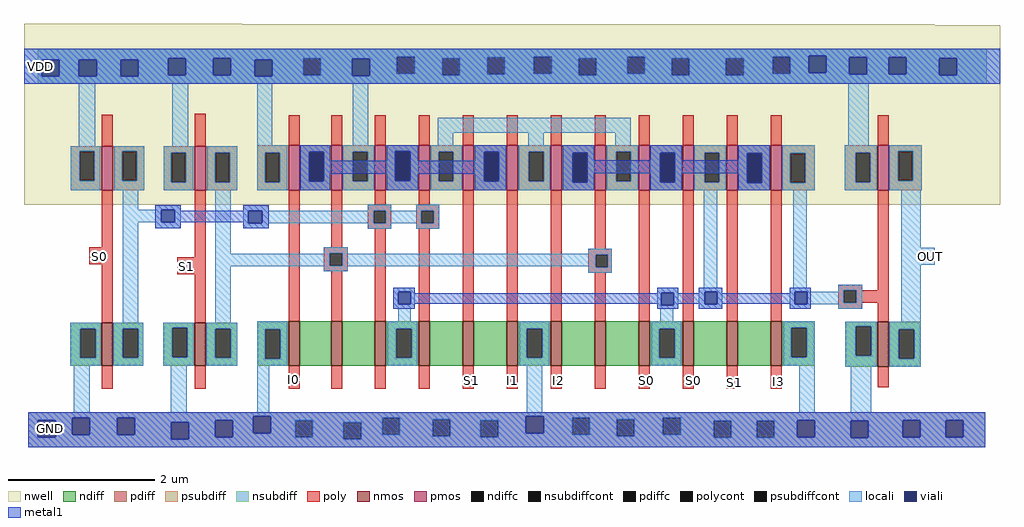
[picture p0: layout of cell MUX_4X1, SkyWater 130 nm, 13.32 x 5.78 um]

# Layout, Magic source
magic
tech sky130A
<< nwell >>
rect -361 493 -63 494
rect -361 492 882 493
rect -361 247 971 492
<< nmos >>
rect -255 27 -240 86
rect -128 27 -113 86
rect 0 27 15 88
rect 58 27 73 88
rect 118 27 133 88
rect 178 27 193 88
rect 238 27 253 88
rect 298 27 313 88
rect 358 27 373 88
rect 418 27 433 88
rect 478 27 493 88
rect 538 27 553 88
rect 598 27 613 88
rect 658 27 673 88
rect 804 26 819 87
<< pmos >>
rect -255 267 -240 327
rect -128 267 -113 327
rect 0 267 15 328
rect 58 267 73 328
rect 118 267 133 328
rect 178 267 193 328
rect 238 267 253 328
rect 298 267 313 328
rect 358 267 373 328
rect 418 267 433 328
rect 478 267 493 328
rect 538 267 553 328
rect 598 267 613 328
rect 658 267 673 328
rect 804 267 819 328
<< ndiff >>
rect -298 78 -255 86
rect -298 38 -284 78
rect -263 38 -255 78
rect -298 27 -255 38
rect -240 78 -198 86
rect -240 38 -226 78
rect -205 38 -198 78
rect -240 27 -198 38
rect -171 79 -128 86
rect -171 39 -159 79
rect -138 39 -128 79
rect -171 27 -128 39
rect -113 78 -70 86
rect -113 38 -100 78
rect -79 38 -70 78
rect -113 27 -70 38
rect -43 77 0 88
rect -43 37 -32 77
rect -11 37 0 77
rect -43 27 0 37
rect 15 27 58 88
rect 73 27 118 88
rect 133 78 178 88
rect 133 38 147 78
rect 168 38 178 78
rect 133 27 178 38
rect 193 27 238 88
rect 253 27 298 88
rect 313 78 358 88
rect 313 38 325 78
rect 346 38 358 78
rect 313 27 358 38
rect 373 27 418 88
rect 433 27 478 88
rect 493 78 538 88
rect 493 38 506 78
rect 527 38 538 78
rect 493 27 538 38
rect 553 27 598 88
rect 613 27 658 88
rect 673 79 718 88
rect 673 39 686 79
rect 707 39 718 79
rect 673 27 718 39
rect 760 81 804 87
rect 760 41 774 81
rect 795 41 804 81
rect 760 26 804 41
rect 819 77 863 87
rect 819 37 833 77
rect 854 37 863 77
rect 819 26 863 37
<< pdiff >>
rect -297 320 -255 327
rect -297 280 -285 320
rect -265 280 -255 320
rect -297 267 -255 280
rect -240 320 -197 327
rect -240 280 -227 320
rect -207 280 -197 320
rect -240 267 -197 280
rect -170 318 -128 327
rect -170 278 -160 318
rect -140 278 -128 318
rect -170 267 -128 278
rect -113 318 -70 327
rect -113 278 -100 318
rect -80 278 -70 318
rect -113 267 -70 278
rect -43 318 0 328
rect -43 278 -32 318
rect -12 278 0 318
rect -43 267 0 278
rect 15 319 58 328
rect 15 279 28 319
rect 48 279 58 319
rect 15 267 58 279
rect 73 319 118 328
rect 73 279 88 319
rect 108 279 118 319
rect 73 267 118 279
rect 133 320 178 328
rect 133 280 146 320
rect 166 280 178 320
rect 133 267 178 280
rect 193 319 238 328
rect 193 279 205 319
rect 225 279 238 319
rect 193 267 238 279
rect 253 319 298 328
rect 253 279 267 319
rect 287 279 298 319
rect 253 267 298 279
rect 313 319 358 328
rect 313 279 328 319
rect 348 279 358 319
rect 313 267 358 279
rect 373 318 418 328
rect 373 278 388 318
rect 408 278 418 318
rect 373 267 418 278
rect 433 319 478 328
rect 433 279 447 319
rect 467 279 478 319
rect 433 267 478 279
rect 493 318 538 328
rect 493 278 507 318
rect 527 278 538 318
rect 493 267 538 278
rect 553 318 598 328
rect 553 278 568 318
rect 588 278 598 318
rect 553 267 598 278
rect 613 317 658 328
rect 613 277 626 317
rect 646 277 658 317
rect 613 267 658 277
rect 673 317 718 328
rect 673 277 685 317
rect 705 277 718 317
rect 673 267 718 277
rect 759 318 804 328
rect 759 278 774 318
rect 794 278 804 318
rect 759 267 804 278
rect 819 320 864 328
rect 819 280 832 320
rect 852 280 864 320
rect 819 267 864 280
<< ndiffc >>
rect -284 38 -263 78
rect -226 38 -205 78
rect -159 39 -138 79
rect -100 38 -79 78
rect -32 37 -11 77
rect 147 38 168 78
rect 325 38 346 78
rect 506 38 527 78
rect 686 39 707 79
rect 774 41 795 81
rect 833 37 854 77
<< pdiffc >>
rect -285 280 -265 320
rect -227 280 -207 320
rect -160 278 -140 318
rect -100 278 -80 318
rect -32 278 -12 318
rect 28 279 48 319
rect 88 279 108 319
rect 146 280 166 320
rect 205 279 225 319
rect 267 279 287 319
rect 328 279 348 319
rect 388 278 408 318
rect 447 279 467 319
rect 507 278 527 318
rect 568 278 588 318
rect 626 277 646 317
rect 685 277 705 317
rect 774 278 794 318
rect 832 280 852 320
<< psubdiff >>
rect -355 -44 951 -36
rect -355 -47 128 -44
rect -355 -70 9 -47
rect 33 -50 128 -47
rect 33 -70 75 -50
rect -355 -73 75 -70
rect 99 -67 128 -50
rect 152 -46 387 -44
rect 152 -67 197 -46
rect 99 -69 197 -67
rect 221 -47 387 -46
rect 221 -69 262 -47
rect 99 -70 262 -69
rect 286 -67 387 -47
rect 411 -46 511 -44
rect 411 -67 448 -46
rect 286 -69 448 -67
rect 472 -67 511 -46
rect 535 -48 951 -44
rect 535 -67 580 -48
rect 472 -69 580 -67
rect 286 -70 580 -69
rect 99 -71 580 -70
rect 604 -71 639 -48
rect 663 -71 951 -48
rect 99 -73 951 -71
rect -355 -84 951 -73
<< nsubdiff >>
rect -342 449 953 460
rect -342 447 148 449
rect -342 424 20 447
rect 44 426 148 447
rect 172 448 335 449
rect 172 447 271 448
rect 172 426 210 447
rect 44 424 210 426
rect 234 425 271 447
rect 295 426 335 448
rect 359 447 462 449
rect 359 426 396 447
rect 295 425 396 426
rect 234 424 396 425
rect 420 426 462 447
rect 486 447 661 449
rect 486 426 523 447
rect 420 424 523 426
rect 547 424 597 447
rect 621 426 661 447
rect 685 426 953 449
rect 621 424 953 426
rect -342 412 953 424
<< psubdiffcont >>
rect 9 -70 33 -47
rect 75 -73 99 -50
rect 128 -67 152 -44
rect 197 -69 221 -46
rect 262 -70 286 -47
rect 387 -67 411 -44
rect 448 -69 472 -46
rect 511 -67 535 -44
rect 580 -71 604 -48
rect 639 -71 663 -48
<< nsubdiffcont >>
rect 20 424 44 447
rect 148 426 172 449
rect 210 424 234 447
rect 271 425 295 448
rect 335 426 359 449
rect 396 424 420 447
rect 462 426 486 449
rect 523 424 547 447
rect 597 424 621 447
rect 661 426 685 449
<< poly >>
rect -255 327 -240 370
rect -128 327 -113 371
rect 0 328 15 369
rect 58 328 73 369
rect 118 328 133 369
rect 178 328 193 369
rect 238 328 253 369
rect 298 328 313 369
rect 358 328 373 369
rect 418 328 433 369
rect 478 328 493 369
rect 538 328 553 369
rect 598 328 613 369
rect 658 328 673 369
rect 804 328 819 369
rect -255 189 -240 267
rect -272 166 -240 189
rect -128 175 -113 267
rect -255 86 -240 166
rect -152 152 -113 175
rect -128 86 -113 152
rect 0 88 15 267
rect 58 189 73 267
rect 118 247 133 267
rect 178 247 193 267
rect 108 239 140 247
rect 108 222 116 239
rect 133 222 140 239
rect 108 214 140 222
rect 174 239 206 247
rect 174 222 181 239
rect 198 222 206 239
rect 174 214 206 222
rect 48 181 81 189
rect 48 164 56 181
rect 73 164 81 181
rect 48 156 81 164
rect 58 88 73 156
rect 118 88 133 214
rect 178 88 193 214
rect 238 88 253 267
rect 298 88 313 267
rect 358 88 373 267
rect 418 187 433 267
rect 409 179 441 187
rect 409 162 419 179
rect 436 162 441 179
rect 409 154 441 162
rect 418 88 433 154
rect 478 88 493 267
rect 538 88 553 267
rect 598 88 613 267
rect 658 88 673 267
rect 750 130 783 138
rect 804 130 819 267
rect 750 113 758 130
rect 775 113 819 130
rect 750 105 783 113
rect 804 87 819 113
rect -255 -4 -240 27
rect -128 -4 -113 27
rect 0 -4 15 27
rect 58 -4 73 27
rect 118 -4 133 27
rect 178 -4 193 27
rect 238 -4 253 27
rect 298 -4 313 27
rect 358 -4 373 27
rect 418 -4 433 27
rect 478 -4 493 27
rect 538 -4 553 27
rect 598 -4 613 27
rect 658 -4 673 27
rect 804 -2 819 26
<< polycont >>
rect 116 222 133 239
rect 181 222 198 239
rect 56 164 73 181
rect 419 162 436 179
rect 758 113 775 130
<< locali >>
rect -361 450 971 460
rect -361 449 710 450
rect -361 447 148 449
rect -361 445 -164 447
rect -361 422 -337 445
rect -313 422 -286 445
rect -262 422 -229 445
rect -205 424 -164 445
rect -140 424 -103 447
rect -79 445 20 447
rect -79 424 -46 445
rect -205 422 -46 424
rect -22 424 20 445
rect 44 446 148 447
rect 44 424 87 446
rect -22 423 87 424
rect 111 426 148 446
rect 172 448 335 449
rect 172 447 271 448
rect 172 426 210 447
rect 111 424 210 426
rect 234 425 271 447
rect 295 426 335 448
rect 359 447 462 449
rect 359 426 396 447
rect 295 425 396 426
rect 234 424 396 425
rect 420 426 462 447
rect 486 447 661 449
rect 486 426 523 447
rect 420 424 523 426
rect 547 424 597 447
rect 621 426 661 447
rect 685 427 710 449
rect 734 448 971 450
rect 734 427 765 448
rect 685 426 765 427
rect 621 425 765 426
rect 789 425 819 448
rect 843 447 971 448
rect 843 425 888 447
rect 621 424 888 425
rect 912 424 971 447
rect 111 423 971 424
rect -22 422 971 423
rect -361 412 971 422
rect -286 327 -264 412
rect -159 327 -137 412
rect -43 328 -22 412
rect 88 328 109 412
rect 204 345 467 366
rect 204 328 225 345
rect 327 328 348 345
rect 446 328 467 345
rect 764 328 792 412
rect -297 320 -257 327
rect -297 280 -285 320
rect -265 280 -257 320
rect -297 267 -257 280
rect -238 320 -197 327
rect -238 280 -227 320
rect -207 280 -197 320
rect -238 267 -197 280
rect -170 318 -130 327
rect -170 278 -160 318
rect -140 278 -130 318
rect -170 267 -130 278
rect -111 318 -70 327
rect -111 278 -100 318
rect -80 278 -70 318
rect -111 267 -70 278
rect -43 318 -2 328
rect -43 278 -32 318
rect -12 278 -2 318
rect -43 267 -2 278
rect 16 319 57 328
rect 16 279 28 319
rect 48 279 57 319
rect 16 267 57 279
rect 74 319 117 328
rect 74 279 88 319
rect 108 279 117 319
rect 74 267 117 279
rect 134 320 177 328
rect 134 280 146 320
rect 166 280 177 320
rect 134 267 177 280
rect 194 319 237 328
rect 194 279 205 319
rect 225 279 237 319
rect 194 267 237 279
rect 254 319 297 328
rect 254 279 267 319
rect 287 279 297 319
rect 254 267 297 279
rect 314 319 357 328
rect 314 279 328 319
rect 348 279 357 319
rect 314 267 357 279
rect 374 318 417 328
rect 374 278 388 318
rect 408 278 417 318
rect 374 267 417 278
rect 434 319 477 328
rect 434 279 447 319
rect 467 279 477 319
rect 434 267 477 279
rect 494 318 537 328
rect 494 278 507 318
rect 527 278 537 318
rect 494 267 537 278
rect 554 318 597 328
rect 554 278 568 318
rect 588 278 597 318
rect 554 267 597 278
rect 614 317 657 328
rect 614 277 626 317
rect 646 277 657 317
rect 614 267 657 277
rect 674 317 718 328
rect 674 277 685 317
rect 705 277 718 317
rect 674 267 718 277
rect 759 318 803 328
rect 759 278 774 318
rect 794 278 803 318
rect 759 267 803 278
rect 820 320 864 328
rect 820 280 832 320
rect 852 280 864 320
rect 820 267 864 280
rect -226 240 -205 267
rect -182 240 -147 246
rect -226 223 -174 240
rect -155 223 -147 240
rect -226 86 -205 223
rect -182 215 -147 223
rect -100 180 -79 267
rect -62 239 -27 246
rect 108 239 140 247
rect 174 239 206 247
rect -62 222 -55 239
rect -36 222 116 239
rect 133 222 181 239
rect 198 222 206 239
rect -62 215 -27 222
rect 108 214 140 222
rect 174 214 206 222
rect 48 181 81 189
rect 48 180 56 181
rect -100 164 56 180
rect 73 180 81 181
rect 409 180 441 187
rect 73 179 441 180
rect 73 164 419 179
rect -100 163 419 164
rect -100 86 -79 163
rect 48 156 81 163
rect 409 162 419 163
rect 436 162 441 179
rect 409 154 441 162
rect 567 134 585 267
rect 689 134 707 267
rect 836 188 863 267
rect 836 165 882 188
rect 143 128 172 134
rect 143 111 150 128
rect 167 111 172 128
rect 143 105 172 111
rect 503 127 532 134
rect 503 110 509 127
rect 526 110 532 127
rect 503 105 532 110
rect 560 128 592 134
rect 560 111 568 128
rect 585 111 592 128
rect 560 105 592 111
rect 684 128 713 134
rect 750 130 783 138
rect 750 128 758 130
rect 684 111 691 128
rect 708 113 758 128
rect 775 113 783 130
rect 708 111 783 113
rect 684 105 713 111
rect 750 105 783 111
rect 150 88 167 105
rect 507 88 525 105
rect -298 78 -256 86
rect -298 38 -284 78
rect -263 38 -256 78
rect -298 27 -256 38
rect -239 78 -198 86
rect -239 38 -226 78
rect -205 38 -198 78
rect -239 27 -198 38
rect -171 79 -129 86
rect -171 39 -159 79
rect -138 39 -129 79
rect -171 27 -129 39
rect -112 78 -70 86
rect -112 38 -100 78
rect -79 38 -70 78
rect -112 27 -70 38
rect -43 77 -2 88
rect -43 37 -32 77
rect -11 37 -2 77
rect -43 27 -2 37
rect 135 78 176 88
rect 135 38 147 78
rect 168 38 176 78
rect 135 27 176 38
rect 315 78 356 88
rect 315 38 325 78
rect 346 38 356 78
rect 315 27 356 38
rect 495 78 536 88
rect 495 38 506 78
rect 527 38 536 78
rect 495 27 536 38
rect 675 79 718 88
rect 836 87 863 165
rect 675 39 686 79
rect 707 39 718 79
rect 675 27 718 39
rect -293 -36 -271 27
rect -161 -36 -139 27
rect -43 -36 -26 27
rect 325 -36 346 27
rect 697 -36 718 27
rect 760 81 803 87
rect 760 41 774 81
rect 795 41 803 81
rect 760 26 803 41
rect 820 77 863 87
rect 820 37 833 77
rect 854 37 863 77
rect 820 26 863 37
rect 767 -36 795 26
rect -355 -42 951 -36
rect -355 -44 -48 -42
rect -355 -47 -295 -44
rect -355 -70 -342 -47
rect -318 -67 -295 -47
rect -271 -67 -234 -44
rect -210 -47 -48 -44
rect -210 -50 -100 -47
rect -210 -67 -160 -50
rect -318 -70 -160 -67
rect -355 -73 -160 -70
rect -136 -70 -100 -50
rect -76 -65 -48 -47
rect -24 -44 324 -42
rect -24 -47 128 -44
rect -24 -65 9 -47
rect -76 -70 9 -65
rect 33 -50 128 -47
rect 33 -70 75 -50
rect -136 -73 75 -70
rect 99 -67 128 -50
rect 152 -46 324 -44
rect 152 -67 197 -46
rect 99 -69 197 -67
rect 221 -47 324 -46
rect 221 -69 262 -47
rect 99 -70 262 -69
rect 286 -65 324 -47
rect 348 -44 951 -42
rect 348 -65 387 -44
rect 286 -67 387 -65
rect 411 -46 511 -44
rect 411 -67 448 -46
rect 286 -69 448 -67
rect 472 -67 511 -46
rect 535 -47 951 -44
rect 535 -48 694 -47
rect 535 -67 580 -48
rect 472 -69 580 -67
rect 286 -70 580 -69
rect 99 -71 580 -70
rect 604 -71 639 -48
rect 663 -70 694 -48
rect 718 -48 838 -47
rect 718 -70 767 -48
rect 663 -71 767 -70
rect 791 -70 838 -48
rect 862 -70 897 -47
rect 921 -70 951 -47
rect 791 -71 951 -70
rect 99 -73 951 -71
rect -355 -84 951 -73
<< viali >>
rect -337 422 -313 445
rect -286 422 -262 445
rect -229 422 -205 445
rect -164 424 -140 447
rect -103 424 -79 447
rect -46 422 -22 445
rect 87 423 111 446
rect 710 427 734 450
rect 765 425 789 448
rect 819 425 843 448
rect 888 424 912 447
rect 28 279 48 319
rect 146 280 166 320
rect 267 279 287 319
rect 388 278 408 318
rect 507 278 527 318
rect 626 277 646 317
rect -174 223 -155 240
rect -55 222 -36 239
rect 150 111 167 128
rect 509 110 526 127
rect 568 111 585 128
rect 691 111 708 128
rect -342 -70 -318 -47
rect -295 -67 -271 -44
rect -234 -67 -210 -44
rect -160 -73 -136 -50
rect -100 -70 -76 -47
rect -48 -65 -24 -42
rect 324 -65 348 -42
rect 694 -70 718 -47
rect 767 -71 791 -48
rect 838 -70 862 -47
rect 897 -70 921 -47
<< metal1 >>
rect -361 450 971 460
rect -361 447 710 450
rect -361 445 -164 447
rect -361 422 -337 445
rect -313 422 -286 445
rect -262 422 -229 445
rect -205 424 -164 445
rect -140 424 -103 447
rect -79 446 710 447
rect -79 445 87 446
rect -79 424 -46 445
rect -205 422 -46 424
rect -22 423 87 445
rect 111 427 710 446
rect 734 448 971 450
rect 734 427 765 448
rect 111 425 765 427
rect 789 425 819 448
rect 843 447 971 448
rect 843 425 888 447
rect 111 424 888 425
rect 912 424 971 447
rect 111 423 971 424
rect -22 422 971 423
rect -361 412 971 422
rect 16 319 57 328
rect 16 279 28 319
rect 48 307 57 319
rect 134 320 177 328
rect 134 307 146 320
rect 48 289 146 307
rect 48 279 57 289
rect 16 267 57 279
rect 134 280 146 289
rect 166 307 177 320
rect 254 319 297 328
rect 254 307 267 319
rect 166 289 267 307
rect 166 280 177 289
rect 134 267 177 280
rect 254 279 267 289
rect 287 279 297 319
rect 254 267 297 279
rect 374 318 417 328
rect 374 278 388 318
rect 408 308 417 318
rect 494 318 537 328
rect 494 308 507 318
rect 408 290 507 308
rect 408 278 417 290
rect 374 267 417 278
rect 494 278 507 290
rect 527 308 537 318
rect 614 317 657 328
rect 614 308 626 317
rect 527 290 626 308
rect 527 278 537 290
rect 494 267 537 278
rect 614 277 626 290
rect 646 277 657 317
rect 614 267 657 277
rect -182 240 -147 246
rect -182 223 -174 240
rect -155 239 -147 240
rect -62 239 -27 246
rect -155 223 -55 239
rect -182 215 -147 223
rect -62 222 -55 223
rect -36 222 -27 239
rect -62 215 -27 222
rect 143 128 172 134
rect 143 111 150 128
rect 167 126 172 128
rect 503 127 532 134
rect 503 126 509 127
rect 167 112 509 126
rect 167 111 172 112
rect 143 105 172 111
rect 503 110 509 112
rect 526 126 532 127
rect 560 128 592 134
rect 560 126 568 128
rect 526 112 568 126
rect 526 110 532 112
rect 503 105 532 110
rect 560 111 568 112
rect 585 126 592 128
rect 684 128 713 134
rect 684 126 691 128
rect 585 112 691 126
rect 585 111 592 112
rect 560 105 592 111
rect 684 111 691 112
rect 708 111 713 128
rect 684 105 713 111
rect -355 -42 951 -36
rect -355 -44 -48 -42
rect -355 -47 -295 -44
rect -355 -70 -342 -47
rect -318 -67 -295 -47
rect -271 -67 -234 -44
rect -210 -47 -48 -44
rect -210 -50 -100 -47
rect -210 -67 -160 -50
rect -318 -70 -160 -67
rect -355 -73 -160 -70
rect -136 -70 -100 -50
rect -76 -65 -48 -47
rect -24 -65 324 -42
rect 348 -47 951 -42
rect 348 -65 694 -47
rect -76 -70 694 -65
rect 718 -48 838 -47
rect 718 -70 767 -48
rect -136 -71 767 -70
rect 791 -70 838 -48
rect 862 -70 897 -47
rect 921 -70 951 -47
rect 791 -71 951 -70
rect -136 -73 951 -71
rect -355 -84 951 -73
<< labels >>
flabel metal1 s -363 409 -313 461 0 FreeSans 80 0 0 0 VDD
port 0 nsew
flabel metal1 s -350 -84 -300 -32 0 FreeSans 80 0 0 0 GND
port 1 nsew
flabel poly s -11 -6 24 23 0 FreeSans 80 0 0 0 I0
port 2 nsew
flabel poly s 288 -7 323 22 0 FreeSans 80 0 0 0 I1
port 3 nsew
flabel poly s 351 -7 386 22 0 FreeSans 80 0 0 0 I2
port 4 nsew
flabel poly s 651 -9 686 20 0 FreeSans 80 0 0 0 I3
port 5 nsew
flabel poly s -275 162 -240 191 0 FreeSans 80 0 0 0 S0
port 6 nsew
flabel poly s 471 -7 506 22 0 FreeSans 80 0 0 0 S0
flabel poly s 535 -7 570 22 0 FreeSans 80 0 0 0 S0
flabel poly s -157 148 -122 177 0 FreeSans 80 0 0 0 S1
port 7 nsew
flabel poly s 232 -8 267 21 0 FreeSans 80 0 0 0 S1
flabel poly s 591 -10 626 19 0 FreeSans 80 0 0 0 S1
flabel locali s 859 162 894 191 0 FreeSans 80 0 0 0 OUT
port 8 nsew
<< end >>
